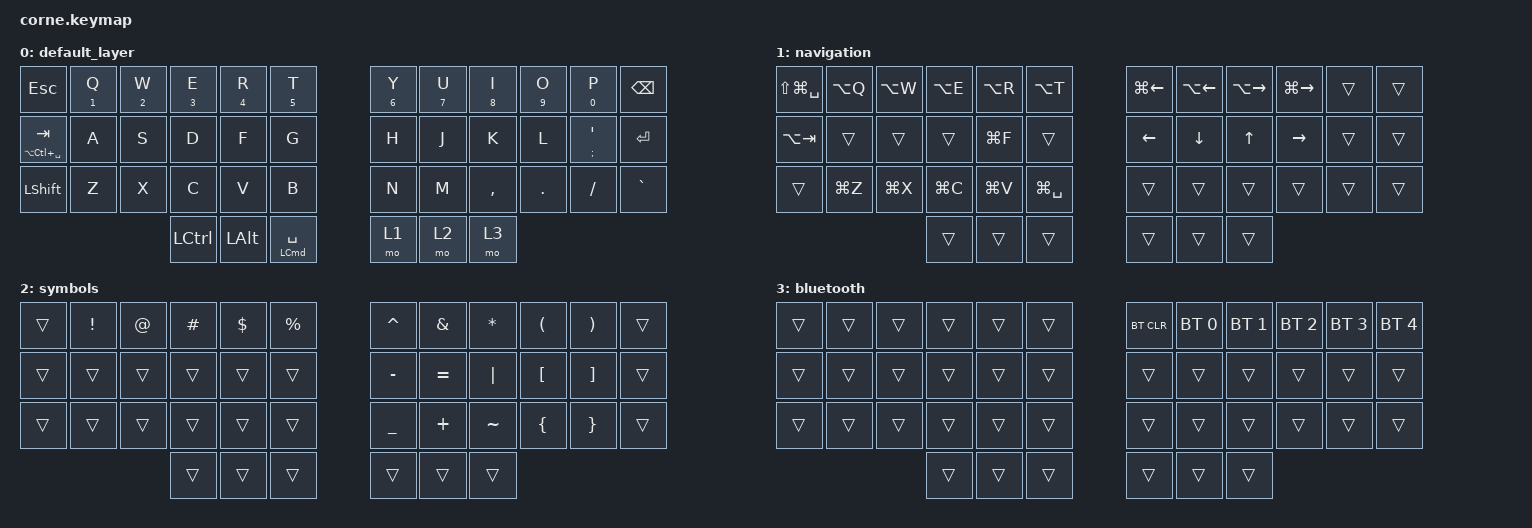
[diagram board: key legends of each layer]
/*
 * Copyright (c) 2020 The ZMK Contributors
 *
 * SPDX-License-Identifier: MIT
 */

#include <behaviors.dtsi>
#include <dt-bindings/zmk/bt.h>
#include <dt-bindings/zmk/keys.h>

&mt { tapping-term-ms = <300>; };

/ {
    combos {
        compatible = "zmk,combos";

        sh {
            bindings = <&kp LEFT_BRACKET>;
            key-positions = <9 10>;
        };

        sht {
            bindings = <&kp RIGHT_BRACKET>;
            key-positions = <10 11>;
        };

        sleep {
            bindings = <&kp LC(LG(Q))>;
            key-positions = <0 1>;
        };
    };

    behaviors {
        hml: hml {
            compatible = "zmk,behavior-hold-tap";
            label = "HML";
            bindings = <&kp>, <&kp>;

            #binding-cells = <2>;
            tapping-term-ms = <280>;
            quick-tap-ms = <175>;
            require-prior-idle-ms = <150>;
            flavor = "balanced";
            hold-trigger-on-release;
            hold-trigger-key-positions = <6 7 8 9 10 11 23 22 21 20 19 18 30 31 32 34 33 35 41 40 39 38 37 36>;
        };

        hmr: hmr {
            compatible = "zmk,behavior-hold-tap";
            label = "HMR";
            bindings = <&kp>, <&kp>;

            #binding-cells = <2>;
            tapping-term-ms = <280>;
            quick-tap-ms = <175>;
            require-prior-idle-ms = <150>;
            flavor = "balanced";
            hold-trigger-key-positions = <0 1 2 3 4 5 12 13 14 15 16 17 24 25 26 27 28 29 36 37 38 39 40 41>;
            hold-trigger-on-release;
        };

        ht: ht {
            compatible = "zmk,behavior-hold-tap";
            label = "HT";
            bindings = <&kp>, <&kp>;

            #binding-cells = <2>;
            tapping-term-ms = <200>;
            flavor = "tap-preferred";
        };
    };

    keymap {
        compatible = "zmk,keymap";

        default_layer {
            // -----------------------------------------------------------------------------------------
            // |  ESC |  Q  |  W  |  E  |  R  |  T  |   |  Y  |  U   |  I  |  O  |  P  | BSPC |
            // |  TAB |  A  |  S  |  D  |  F  |  G  |   |  H  |  J   |  K  |  L  |  ;  |  '   |
            // | SHFT |  Z  |  X  |  C  |  V  |  B  |   |  N  |  M   |  ,  |  .  |  /  | ESC  |
            //                    | GUI | LWR | SPC |   | ENT | RSE  | ALT |

            bindings = <
&kp ESC                &ht NUMBER_1 Q  &ht NUMBER_2 W  &ht NUMBER_3 E  &ht NUMBER_4 R  &ht N5 T          &ht NUMBER_6 Y  &ht N7 U  &ht N8 I   &ht N9 O  &ht N0 P           &kp BACKSPACE
&ht LA(LC(SPACE)) TAB  &kp A           &kp S           &kp D           &kp F           &kp G             &kp H           &kp J     &kp K      &kp L     &ht SEMICOLON SQT  &kp ENTER
&kp LEFT_SHIFT         &kp Z           &kp X           &kp C           &kp V           &kp B             &kp N           &kp M     &kp COMMA  &kp DOT   &kp FSLH           &kp GRAVE
                                                       &kp LCTRL       &kp LEFT_ALT    &mt LCMD SPACE    &mo 1           &mo 2     &mo 3
            >;
        };

        navigation {
            // -----------------------------------------------------------------------------------------
            // |  ESC |  1  |  2  |  3  |  4  |  5  |   |  6  |  7  |  8  |  9  |  0  | BSPC |
            // | BTCLR| BT1 | BT2 | BT3 | BT4 | BT5 |   | LFT | DWN |  UP | RGT |     |      |
            // | SHFT |     |     |     |     |     |   |     |     |     |     |     |      |
            //                    | GUI |     | SPC |   | ENT |     | ALT |

            bindings = <
&kp LS(LG(SPACE))  &kp LA(Q)  &kp LA(W)  &kp LA(E)  &kp LA(R)  &kp LA(T)        &kp LG(LEFT)  &kp LA(LEFT)  &kp LA(RIGHT)  &kp LG(RIGHT)  &trans  &trans
&kp LA(TAB)        &trans     &trans     &trans     &kp LG(F)  &trans           &kp LEFT      &kp DOWN      &kp UP         &kp RIGHT      &trans  &trans
&trans             &kp LG(Z)  &kp LG(X)  &kp LG(C)  &kp LG(V)  &kp LG(SPACE)    &trans        &trans        &trans         &trans         &trans  &trans
                                         &trans     &trans     &trans           &trans        &trans        &trans
            >;
        };

        symbols {
            // -----------------------------------------------------------------------------------------
            // |  ESC |  !  |  @  |  #  |  $  |  %  |   |  ^  |  &  |  *  |  (  |  )  | BSPC |
            // | TAB  |     |     |     |     |     |   |  -  |  =  |  [  |  ]  |  \  |  `   |
            // | SHFT |     |     |     |     |     |   |  _  |  +  |  {  |  }  | "|" |  ~   |
            //                    | GUI |     | SPC |   | ENT |     | ALT |

            bindings = <
&trans  &kp EXCL  &kp AT  &kp HASH  &kp DLLR  &kp PRCNT    &kp CARET  &kp AMPS   &kp ASTRK  &kp LPAR          &kp RPAR           &trans
&trans  &trans    &trans  &trans    &trans    &trans       &kp MINUS  &kp EQUAL  &kp PIPE   &kp LEFT_BRACKET  &kp RIGHT_BRACKET  &trans
&trans  &trans    &trans  &trans    &trans    &trans       &kp UNDER  &kp PLUS   &kp TILDE  &kp LEFT_BRACE    &kp RIGHT_BRACE    &trans
                          &trans    &trans    &trans       &trans     &trans     &trans
            >;
        };

        bluetooth {
            bindings = <
&trans  &trans  &trans  &trans  &trans  &trans    &bt BT_CLR  &bt BT_SEL 0  &bt BT_SEL 1  &bt BT_SEL 2  &bt BT_SEL 3  &bt BT_SEL 4
&trans  &trans  &trans  &trans  &trans  &trans    &trans      &trans        &trans        &trans        &trans        &trans
&trans  &trans  &trans  &trans  &trans  &trans    &trans      &trans        &trans        &trans        &trans        &trans
                        &trans  &trans  &trans    &trans      &trans        &trans
            >;
        };
    };
};
